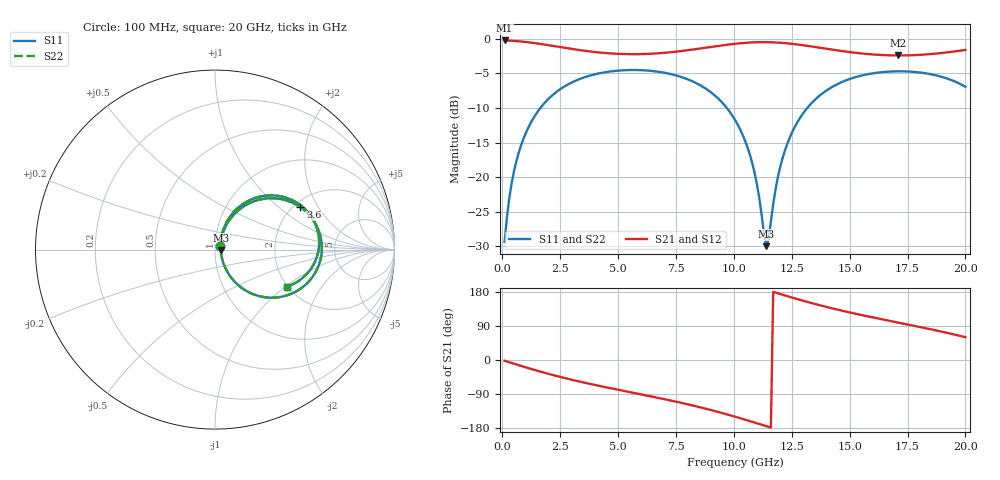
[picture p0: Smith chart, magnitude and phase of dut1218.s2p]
! Touchstone file exported from HFSS 2026.1.0
!  File:  C:/ffzhzh/LocalFiles/Ansys_Project_Files/temp_train_TSV_RDL_1218_1783320741_38820.aedt
!  Generated:  03:07:10 PM Jul  6, 2026
!  Design:  TSV_RDL
!  Project:  temp_train_TSV_RDL_1218_1783320741_38820
! Variables:
!  h_bsmrdl = 5.24um
!  h_ox = 20um
!  h_rdl = 5um
!  h_sub = 68.39um
!  h_tmrdl = 4.03um
!  h_tsv = 68.39um
!  h_via = 3um
!  l_bsmrdl = 802.39um
!  l_sub = 5294.49um
!  l_tmrdl = 597.35um
!  m_sub = 200um
!  pitch = 47.29um
!  r_tsv = 6.41um
!  s_tmrdl = 10um
!  w_bsmrdl = 19.87um
!  w_sub = 500um
!  w_tmrdl = 12.77um
!  x_tsv_center1 = 603.735um
!  x_tsv_center2 = 1425.995um
!  x_tsv_center3 = 2036.115um
!  x_tsv_center4 = 2858.375um
!  x_tsv_center5 = 3468.495um
!  x_tsv_center6 = 4290.755um
# GHz S MA R 50.000000
! Terminal data exported
! Port[1] = TM_RDL1_1_T1
! Port[2] = TM_RDL5_1_T1
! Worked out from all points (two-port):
!   200 points, 100 MHz to 20 GHz, reference 50 ohm
!   highest |S21| = -0.23 dB at 100 MHz (marker M1); lowest = -2.4 dB at 17.1 GHz (marker M2)
!   |S21| within 3 dB of the highest: start of sweep to end of sweep
!   lowest |S11| = -30.0 dB at 11.4 GHz (marker M3), VSWR 1.07, Z = 53.3 - j0.171 ohm
!   |S11| at or under -10 dB: start of sweep to 1.644 GHz; 9.698 GHz to 13.17 GHz (3.472 GHz wide, 30.4 % of centre)
!   |S22| runs from -30.0 to -4.5 dB; largest |S21 - S12| = 2e-14
!   S11 on the Smith chart (normalised r, x): 100 MHz: 1.05, +0.04; 3.6 GHz: 2.17, +1.43; 20 GHz: 1.98, -1.03
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0.1  0.03408 38.4  0.9738 -2.0  0.9738 -2.0  0.03408 38.4
! Gamma 0 0 0 0
! Port Impedance 50 0 50 0
0.3  0.07016 61.2  0.9706 -5.9  0.9706 -5.9  0.07016 61.2
0.5  0.1094 65.3  0.9663 -9.8  0.9663 -9.8  0.1094 65.3
1.1  0.224 61.5  0.9456 -21.0  0.9456 -21.0  0.224 61.5
2.1  0.3828 47.2  0.894 -38.3  0.894 -38.3  0.3828 47.2
3.5  0.5241 27.8  0.8221 -59.2  0.8221 -59.2  0.5241 27.8
3.6  0.5309 26.5  0.818 -60.5  0.818 -60.5  0.5309 26.5
5.2  0.5926 7.0  0.777 -81.0  0.777 -81.0  0.5926 7.0
6.8  0.5765 -11.9  0.7878 -100.8  0.7878 -100.8  0.5765 -11.9
8.8  0.4353 -37.7  0.8638 -128.7  0.8638 -128.7  0.4353 -37.7
10.1  0.2513 -55.8  0.9232 -150.4  0.9232 -150.4  0.2513 -55.8
10.8  0.1255 -60.9  0.9427 -163.3  0.9427 -163.3  0.1254 -60.9
11.4  0.03172 -2.9  0.9466 -174.6  0.9466 -174.6  0.03168 -2.9
11.5  0.03544 29.0  0.946 -176.5  0.946 -176.5  0.03541 29.0
11.9  0.0997 66.1  0.9398 176.0  0.9398 176.0  0.09969 66.1
12.2  0.1547 67.4  0.9318 170.4  0.9318 170.4  0.1547 67.4
13.4  0.3491 53.7  0.8792 149.5  0.8792 149.5  0.3491 53.7
14.8  0.4977 34.9  0.8108 128.3  0.8108 128.3  0.4978 34.9
16.7  0.5799 12.2  0.7606 103.7  0.7606 103.7  0.5799 12.2
17.1  0.5828 7.6  0.7587 98.7  0.7587 98.7  0.5828 7.6
18.5  0.5554 -8.6  0.7762 81.2  0.7762 81.2  0.5554 -8.6
20  0.4505 -27.3  0.8316 60.2  0.8316 60.2  0.4506 -27.3
